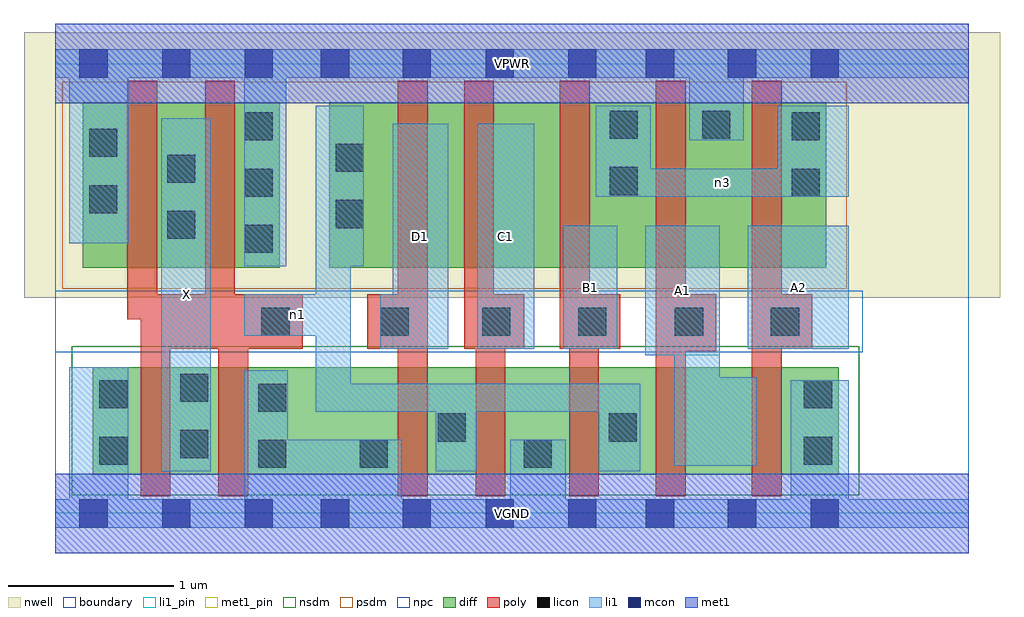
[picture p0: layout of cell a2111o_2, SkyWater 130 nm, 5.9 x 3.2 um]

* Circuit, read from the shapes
.subckt a2111o_2 A1 A2 B1 C1 D1 VGND VPWR X n1 n3
XM1 X n1 VGND VSUBS sky130_fd_pr__nfet_01v8 w=0.65 l=0.18 m=2
XM2 n1 D1 VGND VSUBS sky130_fd_pr__nfet_01v8 w=0.65 l=0.18
XM3 VGND C1 n1 VSUBS sky130_fd_pr__nfet_01v8 w=0.65 l=0.18
XM4 n1 B1 VGND VSUBS sky130_fd_pr__nfet_01v8 w=0.65 l=0.18
XM5 n2 A1 n1 VSUBS sky130_fd_pr__nfet_01v8 w=0.65 l=0.18
XM6 VGND A2 n2 VSUBS sky130_fd_pr__nfet_01v8 w=0.65 l=0.18
XM7 X n1 VPWR n4 sky130_fd_pr__pfet_01v8 w=1 l=0.18 m=2
XM8 n5 D1 n1 n4 sky130_fd_pr__pfet_01v8 w=1 l=0.18
XM9 n6 C1 n5 n4 sky130_fd_pr__pfet_01v8 w=1 l=0.18
XM10 n3 B1 n6 n4 sky130_fd_pr__pfet_01v8 w=1 l=0.18
XM11 VPWR A1 n3 n4 sky130_fd_pr__pfet_01v8 w=1 l=0.18
XM12 n3 A2 VPWR n4 sky130_fd_pr__pfet_01v8 w=1 l=0.18
.ends

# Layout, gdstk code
import gdstk
lib = gdstk.Library(unit=1e-6, precision=1e-09)
def R(c, l, rs):  # rectangles x0, y0, x1, y1
    for r in rs: c.add(gdstk.rectangle(r[:2], r[2:], *l))
def A(c, l, x, y, w, h, nx, ny, dx, dy):  # array of equal rectangles
    R(c, l, [(x+i*dx, y+j*dy, x+i*dx+w, y+j*dy+h) for i in range(nx) for j in range(ny)])
nwell = (64, 20)
diff = (65, 20)
poly = (66, 20)
licon = (66, 44)
li1_pin = (67, 16)
li1 = (67, 20)
mcon = (67, 44)
met1_pin = (68, 16)
met1 = (68, 20)
nsdm = (93, 44)
psdm = (94, 20)
npc = (95, 20)
boundary = (235, 4)

a2111o_2 = lib.new_cell('a2111o_2')
R(a2111o_2, nwell, [(-0.19,1.305,5.71,2.91), (0,1.305,5.52,2.91)])
R(a2111o_2, diff, [(0.225,0.235,4.735,0.885), (0.165,1.485,1.355,2.485), (1.655,1.485,4.66,2.485)])
R(a2111o_2, poly, [(0.515,0.105,0.695,1.325), (0.985,0.105,1.165,1.325), (2.07,0.105,2.25,2.615), (2.54,0.105,2.72,1.325), (3.105,0.105,3.285,1.325), (3.63,0.105,3.81,2.615), (4.21,0.105,4.39,2.615), (3.63,0.98,3.995,1.325), (0.515,0.995,1.495,1.325), (0.905,0.995,1.085,2.615), (1.885,0.995,2.25,1.325), (2.47,0.995,2.65,2.615), (2.47,0.995,2.835,1.325), (3.05,0.995,3.23,2.615), (3.05,0.995,3.415,1.325), (4.21,0.995,4.575,1.325), (0.435,1.175,0.615,2.615)])
A(a2111o_2, licon, 1.145, 1.575, 0.17, 0.17, 1, 3, 0, 0.34)
R(a2111o_2, licon, [(1.225,0.275,1.395,0.445), (1.84,0.275,2.01,0.445), (2.83,0.275,3,0.445), (0.265,0.295,0.435,0.465), (4.525,0.295,4.695,0.465), (0.755,0.335,0.925,0.505), (2.31,0.435,2.48,0.605), (3.345,0.435,3.515,0.605), (1.225,0.615,1.395,0.785), (0.265,0.635,0.435,0.805), (4.525,0.635,4.695,0.805), (0.755,0.675,0.925,0.845), (1.245,1.075,1.415,1.245), (1.965,1.075,2.135,1.245), (2.58,1.075,2.75,1.245), (3.16,1.075,3.33,1.245), (3.745,1.075,3.915,1.245), (4.325,1.075,4.495,1.245), (0.675,1.66,0.845,1.83), (1.695,1.725,1.865,1.895), (0.205,1.815,0.375,1.985), (4.45,1.915,4.62,2.085), (3.35,1.925,3.52,2.095), (0.675,2,0.845,2.17), (1.695,2.065,1.865,2.235), (0.205,2.155,0.375,2.325), (4.45,2.255,4.62,2.425), (3.35,2.265,3.52,2.435), (3.91,2.265,4.08,2.435)])
R(a2111o_2, li1_pin, [(0.64,0.255,0.94,2.39), (3.565,0.955,4.015,1.74), (2.04,0.995,2.375,2.355), (2.55,0.995,2.895,2.355), (3.07,0.995,3.395,1.74), (4.185,0.995,4.795,1.74)])
R(a2111o_2, li1, [(0,-0.085,5.52,0.085), (0.085,-0.085,0.44,0.885), (1.14,-0.085,2.095,0.445), (1.14,-0.085,1.405,0.865), (2.75,-0.085,3.085,0.445), (4.445,-0.085,4.795,0.805), (0.64,0.255,0.94,2.39), (2.3,0.255,2.545,0.785), (3.285,0.255,3.535,0.785), (3.74,0.29,4.015,1.74), (3.74,0.29,4.24,0.825), (1.575,0.615,1.785,2.465), (1.575,0.615,3.535,0.785), (3.565,0.955,4.015,1.74), (1.965,0.995,2.375,1.325), (2.04,0.995,2.375,2.355), (2.55,0.995,2.895,2.355), (3.07,0.995,3.395,1.74), (4.185,0.995,4.795,1.74), (1.14,1.075,1.785,1.325), (1.14,1.495,1.395,2.805), (1.575,1.495,1.865,2.465), (0.085,1.635,0.44,2.805), (3.265,1.915,4.795,2.085), (3.265,1.915,3.6,2.465), (4.365,1.915,4.795,2.465), (3.83,2.255,4.16,2.805), (0,2.635,5.52,2.805)])
A(a2111o_2, mcon, 0.145, -0.085, 0.17, 0.17, 3, 2, 0.5, 2.72)
A(a2111o_2, mcon, 2.1, -0.085, 0.17, 0.17, 3, 2, 0.5, 2.72)
R(a2111o_2, mcon, [(1.605,-0.085,1.775,0.085), (3.57,-0.085,3.74,0.085), (4.065,-0.085,4.235,0.085), (4.565,-0.085,4.735,0.085), (1.605,2.635,1.775,2.805), (3.57,2.635,3.74,2.805), (4.065,2.635,4.235,2.805), (4.565,2.635,4.735,2.805)])
R(a2111o_2, met1_pin, [(0,-0.24,5.52,0.24), (0,2.48,5.52,2.96)])
R(a2111o_2, met1, [(0,-0.24,5.52,0.24), (0,2.48,5.52,2.96)])
R(a2111o_2, nsdm, [(0.1,0.11,4.86,1.01)])
R(a2111o_2, psdm, [(0.04,1.36,4.785,2.61)])
R(a2111o_2, npc, [(0,0.975,4.88,1.345)])
R(a2111o_2, boundary, [(0,0,5.52,2.72)])
a2111o_2.add(gdstk.Label('A1', (3.79,1.347), layer=67, texttype=5))
a2111o_2.add(gdstk.Label('A2', (4.49,1.367), layer=67, texttype=5))
a2111o_2.add(gdstk.Label('B1', (3.232,1.367), layer=67, texttype=5))
a2111o_2.add(gdstk.Label('C1', (2.722,1.675), layer=67, texttype=5))
a2111o_2.add(gdstk.Label('D1', (2.207,1.675), layer=67, texttype=5))
a2111o_2.add(gdstk.Label('X', (0.79,1.322), layer=67, texttype=5))
a2111o_2.add(gdstk.Label('n1', (1.462,1.2), layer=67, texttype=5))
a2111o_2.add(gdstk.Label('n3', (4.03,2), layer=67, texttype=5))
a2111o_2.add(gdstk.Label('VPWR', (2.76,2.72), layer=68, texttype=5))
a2111o_2.add(gdstk.Label('VGND', (2.76,0), layer=68, texttype=5))
a2111o_2.add(gdstk.Label('A1', (3.79,1.347), layer=67, texttype=16))
a2111o_2.add(gdstk.Label('A2', (4.49,1.367), layer=67, texttype=16))
a2111o_2.add(gdstk.Label('B1', (3.232,1.367), layer=67, texttype=16))
a2111o_2.add(gdstk.Label('C1', (2.722,1.675), layer=67, texttype=16))
a2111o_2.add(gdstk.Label('D1', (2.207,1.675), layer=67, texttype=16))
a2111o_2.add(gdstk.Label('X', (0.79,1.322), layer=67, texttype=16))
a2111o_2.add(gdstk.Label('VPWR', (2.76,2.72), layer=68, texttype=16))
a2111o_2.add(gdstk.Label('VGND', (2.76,0), layer=68, texttype=16))

lib.write_gds('a2111o_2.gds')
